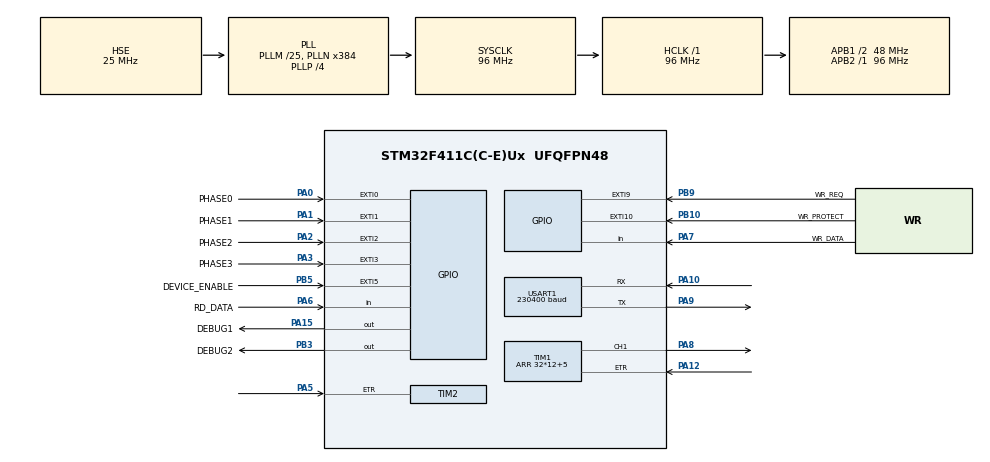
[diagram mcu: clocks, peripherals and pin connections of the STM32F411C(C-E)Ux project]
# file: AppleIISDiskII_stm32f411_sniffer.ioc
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Mcu.Family=STM32F4
Mcu.Name=STM32F411C(C-E)Ux
Mcu.Package=UFQFPN48
NVIC.EXTI0_IRQn=true\:2\:0\:true\:false\:true\:true\:true\:true
NVIC.EXTI15_10_IRQn=true\:0\:0\:true\:false\:true\:true\:true\:true
NVIC.EXTI1_IRQn=true\:2\:0\:true\:false\:true\:true\:true\:true
NVIC.EXTI2_IRQn=true\:2\:0\:true\:false\:true\:true\:true\:true
NVIC.EXTI3_IRQn=true\:2\:0\:true\:false\:true\:true\:true\:true
NVIC.EXTI9_5_IRQn=true\:0\:0\:false\:false\:true\:true\:true\:true
NVIC.PriorityGroup=NVIC_PRIORITYGROUP_4
NVIC.RCC_IRQn=true\:0\:0\:false\:false\:true\:true\:false\:true
NVIC.TIM1_CC_IRQn=true\:0\:0\:false\:false\:false\:true\:true\:true
NVIC.TIM1_UP_TIM10_IRQn=true\:0\:0\:false\:false\:false\:true\:true\:true
NVIC.TIM2_IRQn=true\:0\:0\:false\:false\:false\:true\:true\:true
PA0-WKUP.GPIO_Label=PHASE0
PA0-WKUP.GPIO_ModeDefaultEXTI=GPIO_MODE_IT_RISING_FALLING
PA0-WKUP.GPIO_PuPd=GPIO_NOPULL
PA0-WKUP.Signal=GPXTI0
PA1.GPIO_Label=PHASE1
PA1.GPIO_ModeDefaultEXTI=GPIO_MODE_IT_RISING_FALLING
PA1.GPIO_PuPd=GPIO_NOPULL
PA1.Signal=GPXTI1
PA10.Mode=Asynchronous
PA10.Signal=USART1_RX
PA12.Signal=S_TIM1_ETR
PA13.Mode=Serial_Wire
PA13.Signal=SYS_JTMS-SWDIO
PA14.Mode=Serial_Wire
PA14.Signal=SYS_JTCK-SWCLK
PA15.GPIO_Label=DEBUG1
PA15.Signal=GPIO_Output
PA2.GPIO_Label=PHASE2
PA2.GPIO_ModeDefaultEXTI=GPIO_MODE_IT_RISING_FALLING
PA2.GPIO_PuPd=GPIO_NOPULL
PA2.Signal=GPXTI2
PA3.GPIO_Label=PHASE3
PA3.GPIO_ModeDefaultEXTI=GPIO_MODE_IT_RISING_FALLING
PA3.GPIO_PuPd=GPIO_NOPULL
PA3.Signal=GPXTI3
PA5.Signal=S_TIM2_CH1_ETR
PA6.GPIO_Label=RD_DATA
PA6.Signal=GPIO_Input
PA7.GPIO_Label=WR_DATA
PA7.Signal=GPIO_Input
PA8.Signal=S_TIM1_CH1
PA9.Mode=Asynchronous
PA9.Signal=USART1_TX
PB10.GPIO_Label=WR_PROTECT
PB10.GPIO_ModeDefaultEXTI=GPIO_MODE_IT_RISING_FALLING
PB10.GPIO_PuPd=GPIO_NOPULL
PB10.Signal=GPXTI10
PB3.GPIO_Label=DEBUG2
PB3.PinState=GPIO_PIN_RESET
PB3.Signal=GPIO_Output
PB5.GPIO_Label=DEVICE_ENABLE
PB5.GPIO_ModeDefaultEXTI=GPIO_MODE_IT_RISING_FALLING
PB5.GPIO_PuPd=GPIO_NOPULL
PB5.Signal=GPXTI5
PB9.GPIO_Label=WR_REQ
PB9.GPIO_ModeDefaultEXTI=GPIO_MODE_IT_RISING_FALLING
PB9.GPIO_PuPd=GPIO_NOPULL
PB9.Signal=GPXTI9
PH0\ -\ OSC_IN.Mode=HSE-External-Oscillator
PH0\ -\ OSC_IN.Signal=RCC_OSC_IN
PH1\ -\ OSC_OUT.Mode=HSE-External-Oscillator
PH1\ -\ OSC_OUT.Signal=RCC_OSC_OUT
ProjectManager.HeapSize=0x200
ProjectManager.StackSize=0x400
ProjectManager.TargetToolchain=Makefile
RCC.48MHZClocksFreq_Value=96000000
RCC.AHBFreq_Value=96000000
RCC.APB1CLKDivider=RCC_HCLK_DIV2
RCC.APB1Freq_Value=48000000
RCC.APB1TimFreq_Value=96000000
RCC.APB2Freq_Value=96000000
RCC.APB2TimFreq_Value=96000000
RCC.CortexFreq_Value=96000000
RCC.HCLKFreq_Value=96000000
RCC.HSE_VALUE=25000000
RCC.HSI_VALUE=16000000
RCC.LSE_VALUE=32768
RCC.PLLM=25
RCC.PLLN=384
RCC.PLLP=RCC_PLLP_DIV4
RCC.PLLSourceVirtual=RCC_PLLSOURCE_HSE
RCC.SYSCLKFreq_VALUE=96000000
RCC.SYSCLKSource=RCC_SYSCLKSOURCE_PLLCLK
RCC.VCOOutputFreq_Value=384000000
SH.S_TIM1_CH1.0=TIM1_CH1,Output Compare1 CH1
SH.S_TIM1_ETR.0=TIM1_ETR,TriggerSource_ETR
SH.S_TIM2_CH1_ETR.0=TIM2_ETR,TriggerSource_ETR
TIM1.Channel-Output\ Compare1\ CH1=TIM_CHANNEL_1
TIM1.Period=32*12+5
TIM1.Pulse-Output\ Compare1\ CH1=32*12-15
TIM2.Channel-Output\ Compare2\ No\ Output=TIM_CHANNEL_2
TIM2.Period=32*12-1-2
TIM2.Pulse-Output\ Compare2\ No\ Output=32*6
USART1.BaudRate=230400
USART1.VirtualMode=VM_ASYNC
VP_TIM1_VS_ControllerModeReset.Mode=Reset Mode
VP_TIM2_VS_ControllerModeReset.Mode=Reset Mode
VP_TIM2_VS_no_output2.Mode=Output Compare2 No Output
board=custom

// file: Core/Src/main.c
/* USER CODE BEGIN Header */
/**
  ******************************************************************************
  * @file           : main.c
  * @brief          : Main program body
  ******************************************************************************
  * @attention
  *
  * Copyright (c) 2025 STMicroelectronics.
  * All rights reserved.
  *
  * This software is licensed under terms that can be found in the LICENSE file
  * in the root directory of this software component.
  * If no LICENSE file comes with this software, it is provided AS-IS.
  *
  ******************************************************************************
  */
/* USER CODE END Header */
#include "main.h"

/* USER CODE BEGIN Includes */
#include <stdbool.h>
#include <stdio.h>
#include <string.h>
#include <stdlib.h>
#include "log.h"
#include "defines.h"
/* USER CODE END Includes */

TIM_HandleTypeDef htim1;
TIM_HandleTypeDef htim2;

UART_HandleTypeDef huart1;

/* USER CODE BEGIN PV */
volatile unsigned int *DWT_CYCCNT   = (volatile unsigned int *)0xE0001004;
volatile unsigned int *DWT_CONTROL  = (volatile unsigned int *)0xE0001000;
volatile unsigned int *DWT_LAR      = (volatile unsigned int *)0xE0001FB0;
volatile unsigned int *SCB_DHCSR    = (volatile unsigned int *)0xE000EDF0;
volatile unsigned int *SCB_DEMCR    = (volatile unsigned int *)0xE000EDFC;
volatile unsigned int *ITM_TER      = (volatile unsigned int *)0xE0000E00;
volatile unsigned int *ITM_TCR      = (volatile unsigned int *)0xE0000E80;
static int Debug_ITMDebug = 0;
/* USER CODE END PV */

void SystemClock_Config(void);
static void MX_GPIO_Init(void);
static void MX_USART1_UART_Init(void);
static void MX_TIM1_Init(void);
static void MX_TIM2_Init(void);
/* USER CODE BEGIN PFP */
/*
static void SmartPortPhaseIRQ();
static void SmartPortDeviceEnableIRQ();
static void SmartPortWpAckIRQ();
static void SmartPortWrReqIRQ();
*/

static void SmartPortReceiveWRDataIRQ();
static void SmartPortReceiveRDDataIRQ();
static uint8_t verifyCmdpktChecksum(char * packet_buffer);

static void print_packet (unsigned char Emit,unsigned char* data, int bytes);
int packet_length (unsigned char * packet_buffer);

static volatile uint8_t rdData=0;
static volatile uint8_t prevRdData=0;
static volatile uint8_t xorRdData=0;
static volatile int rdStartOffset=0;

static volatile uint8_t wrData=0;
static volatile uint8_t prevWrData=0;
static volatile uint8_t xorWrData=0;
static volatile int wrStartOffset=0;

static volatile unsigned int rdBitCounter=0;
static volatile unsigned int rdBytes=0;
static volatile unsigned int rdBytesReceived=0;

static volatile unsigned int wrBitCounter=0;
static volatile unsigned int wrBytes=0;
static volatile unsigned int wrBytesReceived=0;

static volatile unsigned char rdByteWindow=0x0;
static volatile unsigned char wrByteWindow=0x0;

static volatile uint16_t wrCycleWithNoBytes=0;
static volatile uint8_t flgPacket=2;

static volatile unsigned int WR_REQ_PHASE=0;

static volatile unsigned char phase=0x0;

unsigned char packet_bufferWR[SP_PKT_SIZE];   //smartport packet buffer
unsigned char packet_bufferRD[SP_PKT_SIZE];   //smartport packet buffer

/* USER CODE END PFP */

/* USER CODE BEGIN 0 */

void EnableTiming(void){
  if ((*SCB_DHCSR & 1) && (*ITM_TER & 1)) // Enabled?
    Debug_ITMDebug = 1;

  *SCB_DEMCR |= 0x01000000;
  *DWT_LAR = 0xC5ACCE55;                                    // enable access
  *DWT_CYCCNT = 0;                                          // reset the counter
  *DWT_CONTROL |= 1 ;                                       // enable the counter
}

static void WritePin(GPIO_TypeDef* GPIOx, uint16_t GPIO_Pin, GPIO_PinState PinState){

  if(PinState != GPIO_PIN_RESET)
  {
    GPIOx->BSRR = GPIO_Pin;
  }
  else
  {
    GPIOx->BSRR = (uint32_t)GPIO_Pin << 16U;
  }
}
/**
  * @brief TIMER 1 IRQ Interrupt is handling the Reading from DEVICE to HOST
  * @param None
  * @retval None
  */

void TIM1_CC_IRQHandler(void){

  //  Data bit are sent every 4us
  //  For pulse a duration of 2us

  if (TIM1->SR & TIM_SR_UIF){
    TIM1->SR &= ~TIM_SR_UIF;                              // Clear the overflow interrupt

  }else if (TIM1->SR & TIM_SR_CC1IF){                     // Pulse compare interrrupt on Channel 1
    TIM1->SR &= ~TIM_SR_CC1IF;                            // Clear the compare interrupt flag
    SmartPortReceiveRDDataIRQ();
  }else
    TIM1->SR = 0;
}

/**
  * @brief
  * @param None
  * @retval None
  */
 void TIM1_UP_TIM10_IRQHandler(void){
 // HAL_GPIO_WritePin(DEBUG1_GPIO_Port,DEBUG1_Pin,GPIO_PIN_SET);
 // SmartPortReceiveRDDataIRQ();
 // HAL_GPIO_WritePin(DEBUG1_GPIO_Port,DEBUG1_Pin,GPIO_PIN_RESET);
 if (TIM1->SR & TIM_SR_UIF){
  TIM1->SR &= ~TIM_SR_UIF;
  return;

  //printf("%d",rdData);
//rdData=RD_DATA_GPIO_Port->IDR & RD_DATA_Pin;
return;
 }else{
  //SmartPortReceiveRDDataIRQ();
  TIM1->SR = 0;
 }
}

/**
  * @brief TIMER 2 IRQ Interrupt is handling the Writing from HOST to DEVICE
  * @param (void)
  * @retval None
  */
void TIM2_IRQHandler(void){

  if (TIM2->SR & TIM_SR_UIF){
    TIM2->SR &= ~TIM_SR_UIF;                                                  // Reset the Interrupt
  }else if (TIM2->SR & TIM_SR_CC2IF){                                         // The count & compare is on channel 2 to avoid issue with ETR1
    TIM2->SR &= ~TIM_SR_CC2IF;                                                // clear the count & compare interrupt
    SmartPortReceiveWRDataIRQ();
  }else{
    TIM2->SR=0;
  }
}

void SmartPortPhaseIRQ(){

  phase=(GPIOA->IDR&0b0000000000001111);
  return;
}

volatile uint8_t DEVICE_ENABLE=0x0;

void SmartPortDeviceEnableIRQ(){
  if ((DEVICE_ENABLE_GPIO_Port->IDR & DEVICE_ENABLE_Pin)==0)
    DEVICE_ENABLE=0;
  else
    DEVICE_ENABLE=1;
}

uint8_t WP_ACK=0;
uint8_t pWP_ACK=0;

volatile uint8_t pWR_REQ_PHASE=0x1;

void SmartPortWrReqIRQ(){

  if ((WR_REQ_GPIO_Port->IDR & WR_REQ_Pin)==0)
       WR_REQ_PHASE=0;
  else
       WR_REQ_PHASE=1;

  pWR_REQ_PHASE=WR_REQ_PHASE;
}

void SmartPortWpAckIRQ(){

  if ((WR_PROTECT_GPIO_Port->IDR & WR_PROTECT_Pin)==0)
    WP_ACK=0;
  else
    WP_ACK=1;
  return;
}

static void SmartPortReceiveRDDataIRQ(){
  // ADD WR_REQ IRQ TO MANAGE START & STOP OF THE TIMER
  //WritePin(DEBUG1_GPIO_Port,DEBUG1_Pin,GPIO_PIN_SET);
  //  WritePin(DEBUG1_GPIO_Port,DEBUG1_Pin,GPIO_PIN_SET);
  if ((RD_DATA_GPIO_Port->IDR & RD_DATA_Pin)==0)                                       // get WR_DATA DO NOT USE THE HAL function creating an overhead
    rdData=0;
  else
    rdData=1;
  //  WritePin(DEBUG1_GPIO_Port,DEBUG1_Pin,GPIO_PIN_RESET);

    rdByteWindow<<=1;
    rdByteWindow|=rdData;

  if (rdByteWindow & 0x80){                                                 // Check if ByteWindow Bit 7 is 1 meaning we have a full bytes 0b1xxxxxxx 0x80

    packet_bufferRD[rdBytes]=rdByteWindow;

    if (rdStartOffset==0 && rdByteWindow==0xC3 && rdBitCounter>10)          // Identify when the message start
      rdStartOffset=0x01;

    //printf("%02X",rdByteWindow);
    rdByteWindow=0x0;

    if (rdStartOffset!=0)                                                     // Start writing to packet_buffer only if offset is not 0 (after sync byte)
      rdBytes++;

    //if (rdBytes==600)
    //  rdBytes=0;

  }
  rdBitCounter++;                                      // Next bit please ;)
}

static void SmartPortReceiveWRDataIRQ(){
  // ADD WR_REQ IRQ TO MANAGE START & STOP OF THE TIMER
  //WritePin(DEBUG1_GPIO_Port,DEBUG1_Pin,GPIO_PIN_SET);
  if ((WR_DATA_GPIO_Port->IDR & WR_DATA_Pin)==0)                                       // get WR_DATA DO NOT USE THE HAL function creating an overhead
      wrData=0;
  else
      wrData=1;
  //WritePin(DEBUG1_GPIO_Port,DEBUG1_Pin,GPIO_PIN_RESET);
 //printf("za\n");
  //wrData=WR_DATA_GPIO_Port->IDR & WR_DATA_Pin;

  wrData^= 0x01u;                                                           // get /WR_DATA
  xorWrData=wrData ^ prevWrData;                                            // Compute Magnetic polarity inversion
  prevWrData=wrData;

  wrByteWindow<<=1;
  wrByteWindow|=xorWrData;

  if (wrByteWindow & 0x80){                                                 // Check if ByteWindow Bit 7 is 1 meaning we have a full bytes 0b1xxxxxxx 0x80

      packet_bufferWR[wrBytes]=wrByteWindow;

      if (wrStartOffset==0 && wrByteWindow==0xC3 && wrBitCounter>10)        // Identify when the message start
          wrStartOffset=0x01;

      wrByteWindow=0x0;

      if (wrStartOffset!=0)                                               // Start writing to packet_buffer only if offset is not 0 (after sync byte)
          wrBytes++;
  }

  wrBitCounter++;                                                           // Next bit please ;)
}

static int decodeDataPacket (char * packet_buffer, int pl){

  int grpbyte, grpcount;
  unsigned char numgrps, numodd;
  unsigned char checksum = 0, bit0to6, bit7, oddbits, evenbits;
  unsigned char group_buffer[8];

  log_info("Data Packet Len:%d",pl);

  numodd = packet_buffer[6] & 0x7f;                                                               // Handle arbitrary length packets :)
  numgrps = packet_buffer[7] & 0x7f;

  for (uint8_t count = 1;  count < 8;  count++)                                                   // First, checksum  packet header, because we're about to destroy it
      checksum = checksum ^ packet_buffer[count];                                                 // now xor the packet header bytes

  log_info("PL-3:%02X PL-2:%02X",packet_buffer[pl-3],packet_buffer[pl-2]);
  evenbits = packet_buffer[pl-3] & 0x55;
  oddbits = (packet_buffer[pl-2] & 0x55 ) << 1;

  log_info("evBits %02X, oddBit:%02X",evenbits,oddbits);
  for(int i = 0; i < numodd; i++){                                                                 //add oddbyte(s), 1 in a 512 data packet
      packet_buffer[i] = ((packet_buffer[8] << (i+1)) & 0x80) | (packet_buffer[9+i] & 0x7f);
  }

  for (grpcount = 0; grpcount < numgrps; grpcount++){                                             // 73 grps of 7 in a 512 byte packet
      memcpy(group_buffer, packet_buffer + 10 + (grpcount * 8), 8);
      for (grpbyte = 0; grpbyte < 7; grpbyte++) {
          bit7 = (group_buffer[0] << (grpbyte + 1)) & 0x80;
          bit0to6 = (group_buffer[grpbyte + 1]) & 0x7f;
          packet_buffer[1 + (grpcount * 7) + grpbyte] = bit7 | bit0to6;
      }
  }

  for (uint8_t count = 0;  count < (numgrps*7+1); count++)                                                   // Verify checksum
     checksum = checksum ^ packet_buffer[count];

  log_info("decode Data checksum %02X<>%02X",checksum,(oddbits | evenbits));
  print_packet (0,(unsigned char*) packet_buffer,pl);

  if (checksum == (oddbits | evenbits))
      return 0;                                                                                   // NO error
  else
      return 6;                                                                                   // Smartport bus error code

}
static uint8_t verifyCmdpktChecksum2(char * packet_buffer,int length){
  int count = 0;
  unsigned char evenbits, oddbits, bit7, bit0to6, grpbyte;
  unsigned char calc_checksum = 0; //initial value is 0
  unsigned char pkt_checksum;

/*
C3              PBEGIN    MARKS BEGINNING OF PACKET             32 micro Sec.       6   0
81              DEST      DESTINATION UNIT NUMBER               32 micro Sec.       7   1
80              SRC       SOURCE UNIT NUMBER                    32 micro Sec.       8   2
80              TYPE      PACKET TYPE FIELD                     32 micro Sec.       9   3
80              AUX       PACKET AUXILLIARY TYPE FIELD          32 micro Sec.      10   4
80              STAT      DATA STATUS FIELD                     32 micro Sec.      11   5
82              ODDCNT    ODD BYTES COUNT                       32 micro Sec.      12   6
81              GRP7CNT   GROUP OF 7 BYTES COUNT                32 micro Sec.      13   7
80              ODDMSB    ODD BYTES MSB's                       32 micro Sec.      14   8
81              COMMAND   1ST ODD BYTE = Command Byte           32 micro Sec.      15   9
83              PARMCNT   2ND ODD BYTE = Parameter Count        32 micro Sec.      16  10
80              GRP7MSB   MSB's FOR 1ST GROUP OF 7              32 micro Sec.      17  11
80              G7BYTE1   BYTE 1 FOR 1ST GROUP OF 7             32 micro Sec.      18  12

0000: C3 81 80 80 80 80 82 81 80 81 83 82 80 88 80 80 - ..80808080..80...80.8080
0010: 80 FF 80 FF BB C8

*/

  unsigned char oddcnt=packet_buffer[SP_ODDCNT]  & 0x7f;
  unsigned char grpcnt=packet_buffer[SP_GRP7CNT] & 0x7f;

  for(u_int8_t i = 0; i < oddcnt; i++){                                                                 //add oddbyte(s), 1 in a 512 data packet
      calc_checksum ^= ((packet_buffer[SP_ODDMSB] << (i+1)) & 0x80) | (packet_buffer[SP_COMMAND+i] & 0x7f);
  }

  unsigned char group_buffer[8];

  for (unsigned char grp = 0; grp < grpcnt; grp++){                                             // 73 grps of 7 in a 512 byte packet

    memcpy(group_buffer, packet_buffer + SP_COMMAND+ oddcnt + (grp * 8), 8);

    for (grpbyte = 0; grpbyte < 7; grpbyte++) {
        bit7 = (group_buffer[0] << (grpbyte + 1)) & 0x80;
        bit0to6 = (group_buffer[grpbyte + 1]) & 0x7f;
        //packet_buffer[1 + (grpcount * 7) + grpbyte] = bit7 | bit0to6;
        calc_checksum ^= bit7 | bit0to6;
    }
  }

  // calculate checksum for overhead bytes
  for (count = 1; count < SP_ODDMSB; count++) // start from first id byte
    calc_checksum ^= packet_buffer[count];

  oddbits = (packet_buffer[length - 2] & 0x55 )<< 1 ;
  evenbits = packet_buffer[length - 3] & 0x55;

  pkt_checksum = oddbits | evenbits;

  if ( pkt_checksum == calc_checksum )
      return 1;
  else{
      //print_packet ((unsigned char*) packet_buffer,packet_length());
      log_info("packet_buffer[length - 2]:%02X",packet_buffer[length - 2]);
      log_info("packet_buffer[length - 3]:%02X",packet_buffer[length - 3]);
      log_warn("pkt_chksum:%02X!=calc_chksum:%02X",pkt_checksum,calc_checksum);
      return 0;
  }

}

static uint8_t verifyCmdpktChecksum(char * packet_buffer){
  int count = 0, length;
  unsigned char evenbits, oddbits, bit7, bit0to6, grpbyte;
  unsigned char calc_checksum = 0; //initial value is 0
  unsigned char pkt_checksum;

  length = packet_length(packet_buffer);
/*
C3              PBEGIN    MARKS BEGINNING OF PACKET             32 micro Sec.       6   0
81              DEST      DESTINATION UNIT NUMBER               32 micro Sec.       7   1
80              SRC       SOURCE UNIT NUMBER                    32 micro Sec.       8   2
80              TYPE      PACKET TYPE FIELD                     32 micro Sec.       9   3
80              AUX       PACKET AUXILLIARY TYPE FIELD          32 micro Sec.      10   4
80              STAT      DATA STATUS FIELD                     32 micro Sec.      11   5
82              ODDCNT    ODD BYTES COUNT                       32 micro Sec.      12   6
81              GRP7CNT   GROUP OF 7 BYTES COUNT                32 micro Sec.      13   7
80              ODDMSB    ODD BYTES MSB's                       32 micro Sec.      14   8
81              COMMAND   1ST ODD BYTE = Command Byte           32 micro Sec.      15   9
83              PARMCNT   2ND ODD BYTE = Parameter Count        32 micro Sec.      16  10
80              GRP7MSB   MSB's FOR 1ST GROUP OF 7              32 micro Sec.      17  11
80              G7BYTE1   BYTE 1 FOR 1ST GROUP OF 7             32 micro Sec.      18  12

0000: C3 81 80 80 80 80 82 81 80 81 83 82 80 88 80 80 - ..80808080..80...80.8080
0010: 80 FF 80 FF BB C8

*/

  //unsigned char oddcnt=packet_buffer[SP_ODDCNT] & 0x80;
  //unsigned char grpcnt=packet_buffer[SP_GRP7CNT] & 0x80;

  //2 oddbytes in cmd packet
  calc_checksum ^= ((packet_buffer[SP_ODDMSB] << 1) & 0x80) | (packet_buffer[SP_COMMAND] & 0x7f);
  calc_checksum ^= ((packet_buffer[SP_ODDMSB] << 2) & 0x80) | (packet_buffer[SP_PARMCNT] & 0x7f);

  // 1 group of 7 in a cmd packet

  for (grpbyte = 0; grpbyte < 7; grpbyte++) {
      bit7 = (packet_buffer[SP_GRP7MSB] << (grpbyte + 1)) & 0x80;
      bit0to6 = (packet_buffer[SP_G7BYTE1 + grpbyte]) & 0x7f;
      calc_checksum ^= bit7 | bit0to6;
  }

  // calculate checksum for overhead bytes
  for (count = 1; count < 8; count++) // start from first id byte
      calc_checksum ^= packet_buffer[count];

  oddbits = (packet_buffer[length - 2] & 0x55 )<< 1 ;
  evenbits = packet_buffer[length - 3] & 0x55;

  pkt_checksum = oddbits | evenbits;

  // calculate checksum for overhead bytes

  if ( pkt_checksum == calc_checksum )
      return 1;
  else{
      //print_packet ((unsigned char*) packet_buffer,packet_length());
      log_info("packet_buffer[length - 2]:%02X",packet_buffer[length - 2]);
      log_info("packet_buffer[length - 3]:%02X",packet_buffer[length - 3]);
      log_warn("pkt_chksum:%02X!=calc_chksum:%02X",pkt_checksum,calc_checksum);
      return 0;
  }

}

//*****************************************************************************
// Function: print_packet
// Parameters: pointer to data, number of bytes to be printed
// Returns: none
//
// Description: prints packet data for debug purposes to the serial port
//*****************************************************************************

static void print_packet (unsigned char Emit,unsigned char* data, int bytes){
  int count, row;
  char xx;
  if (Emit==1)
    log_info("HOST Packet size:%03d, src:%02X, dst:%02X, type:%02X, aux:%02x, cmd:%02X, paramcnt:%02X",bytes,data[SP_SRC],data[SP_DEST],data[SP_TYPE],data[SP_AUX],data[SP_COMMAND],data[SP_PARMCNT]);
  else
    log_info("DEVICE Packet size:%03d, src:%02X, dst:%02X, type:%02X, aux:%02x, cmd:%02X, paramcnt:%02X",bytes,data[SP_SRC],data[SP_DEST],data[SP_TYPE],data[SP_AUX],data[SP_COMMAND],data[SP_PARMCNT]);

  for (count = 0; count < bytes; count = count + 16) {

      printf("%04X: ", count);
      for (row = 0; row < 16; row++) {
          if (count + row >= bytes)
              printf("   ");
          else {
              printf("%02X ",data[count + row]);
          }
      }
      printf("- ");
      for (row = 0; row < 16; row++) {
          if ((data[count + row] > 31) && (count + row < bytes) && (data[count + row] < 129)){
              xx = data[count + row];
              printf("%c",xx);
          }
          else
              printf(".");
      }
      printf("\r\n");
  }
  printf(".\r\n");
}

int packet_length (unsigned char * packet_buffer){
  int x = 0;

  while (packet_buffer[x++]);

  return x - 1; // point to last packet byte = C8
}
/* USER CODE END 0 */

int main(void)
{

  /* MCU Configuration--------------------------------------------------------*/

  /* Reset of all peripherals, Initializes the Flash interface and the Systick. */
  HAL_Init();

  /* Configure the system clock */
  SystemClock_Config();

  /* Initialize all configured peripherals */
  MX_GPIO_Init();
  MX_USART1_UART_Init();
  MX_TIM1_Init();
  MX_TIM2_Init();
  /* USER CODE BEGIN 2 */

  log_info("This is the sound of sea\n\r");
  int T2_DIER=0x0;
  T2_DIER|=TIM_DIER_CC2IE;
  T2_DIER|=TIM_DIER_UIE;
  TIM2->DIER|=T2_DIER;

  int T1_DIER=0x0;
  T1_DIER|=TIM_DIER_CC1IE;
  T1_DIER|=TIM_DIER_UIE;
  TIM1->DIER|=T1_DIER;

  int packetIdx=0x0;
  while (1){
    switch (phase) {
      // phase lines for smartport bus reset
      // ph3=0 ph2=1 ph1=0 ph0=1
      case 0x05:

      // Monitor phase lines for reset to clear
          while (phase == 0x05);                                                      // Wait for phases to change
          log_info("Ph:0x05 Reset message");
          break;
      // Phase lines for smartport bus enable
      // Ph3=1 ph2=x ph1=1 ph0=x
      case 0x0a:
      case 0x0b:
      case 0x0e:
      case 0x0f:
            wrStartOffset=0;
            wrBitCounter=0;
            wrBytes=0;
            wrByteWindow=0;
            while (WR_REQ_PHASE==1);
            HAL_TIM_OC_Start_IT(&htim2,TIM_CHANNEL_2);
            WritePin(DEBUG1_GPIO_Port,DEBUG1_Pin,GPIO_PIN_SET);

            while (WR_REQ_PHASE==0);

            HAL_TIM_OC_Stop_IT(&htim2,TIM_CHANNEL_2);
            while (WP_ACK==1);

            WritePin(DEBUG1_GPIO_Port,DEBUG1_Pin,GPIO_PIN_RESET);
            packet_bufferWR[wrBytes]=0x0;
            //WritePin(DEBUG2_GPIO_Port,DEBUG2_Pin,GPIO_PIN_SET);
            //print_packet(1,packet_bufferWR,wrBytes);
            //verifyCmdpktChecksum2(packet_bufferWR,wrBytes);

            if (rdBytes!=0){
              if (rdBytes>24)
                rdBytes=24;
              //print_packet(2,packet_bufferRD,rdBytes);
            }
            //verifyCmdpktChecksum2(packet_bufferRD,rdBytes);
            //WritePin(DEBUG2_GPIO_Port,DEBUG2_Pin,GPIO_PIN_RESET);

            rdStartOffset=0;
            rdBitCounter=0;
            rdBytes=0;
            rdByteWindow=0;
            printf("idx:%04d\n",packetIdx);

            while (WP_ACK==0);

            //

            HAL_TIM_OC_Start_IT(&htim1,TIM_CHANNEL_1);
            WritePin(DEBUG1_GPIO_Port,DEBUG1_Pin,GPIO_PIN_SET);

            while(1){
              if (WR_REQ_PHASE==0){
                // We have an new imcomming data from Host;
                WritePin(DEBUG2_GPIO_Port,DEBUG2_Pin,GPIO_PIN_SET);
                HAL_TIM_OC_Stop_IT(&htim1,TIM_CHANNEL_1);
                wrStartOffset=0;
                wrBitCounter=0;
                wrBytes=0;
                wrByteWindow=0;
                HAL_TIM_OC_Start_IT(&htim2,TIM_CHANNEL_2);
                while (WR_REQ_PHASE==0);
                HAL_TIM_OC_Stop_IT(&htim2,TIM_CHANNEL_2);

                while (WP_ACK==1);
                WritePin(DEBUG2_GPIO_Port,DEBUG2_Pin,GPIO_PIN_RESET);
                packet_bufferWR[wrBytes]=0x0;
                while (WP_ACK==0);                                      // After That the reading answer from the Device
                rdStartOffset=0;
                rdBitCounter=0;
                rdBytes=0;
                rdByteWindow=0;
                HAL_TIM_OC_Start_IT(&htim1,TIM_CHANNEL_1);
                WritePin(DEBUG2_GPIO_Port,DEBUG2_Pin,GPIO_PIN_SET);
                while (WP_ACK==1);
                HAL_TIM_OC_Stop_IT(&htim1,TIM_CHANNEL_1);
                packet_bufferRD[rdBytes]=0x0;
                WritePin(DEBUG2_GPIO_Port,DEBUG2_Pin,GPIO_PIN_RESET);       // we have our second request
                break;

              }else if (WP_ACK==0){                                         // Normal case of Device Sending after 1 request
                  HAL_TIM_OC_Stop_IT(&htim1,TIM_CHANNEL_1);
                  WritePin(DEBUG1_GPIO_Port,DEBUG1_Pin,GPIO_PIN_RESET);
                  packet_bufferRD[rdBytes]=0x0;
                  break;

              }
            }

            //while (WP_ACK==1);
            //HAL_TIM_OC_Stop_IT(&htim1,TIM_CHANNEL_1);
            //WritePin(DEBUG1_GPIO_Port,DEBUG1_Pin,GPIO_PIN_RESET);

            //while(WP_ACK==0);
            //packet_bufferRD[rdBytes]=0x0;
            packetIdx++;

      break;
    }
  }
  /* USER CODE END 2 */

  /* Infinite loop */
  while (1)
  {

  }
}

void SystemClock_Config(void)
{
  RCC_OscInitTypeDef RCC_OscInitStruct = {0};
  RCC_ClkInitTypeDef RCC_ClkInitStruct = {0};

  /** Configure the main internal regulator output voltage
  */
  __HAL_RCC_PWR_CLK_ENABLE();
  __HAL_PWR_VOLTAGESCALING_CONFIG(PWR_REGULATOR_VOLTAGE_SCALE1);

  /** Initializes the RCC Oscillators according to the specified parameters
  * in the RCC_OscInitTypeDef structure.
  */
  RCC_OscInitStruct.OscillatorType = RCC_OSCILLATORTYPE_HSE;
  RCC_OscInitStruct.HSEState = RCC_HSE_ON;
  RCC_OscInitStruct.PLL.PLLState = RCC_PLL_ON;
  RCC_OscInitStruct.PLL.PLLSource = RCC_PLLSOURCE_HSE;
  RCC_OscInitStruct.PLL.PLLM = 25;
  RCC_OscInitStruct.PLL.PLLN = 384;
  RCC_OscInitStruct.PLL.PLLP = RCC_PLLP_DIV4;
  RCC_OscInitStruct.PLL.PLLQ = 4;
  if (HAL_RCC_OscConfig(&RCC_OscInitStruct) != HAL_OK)
  {
    Error_Handler();
  }

  /** Initializes the CPU, AHB and APB buses clocks
  */
  RCC_ClkInitStruct.ClockType = RCC_CLOCKTYPE_HCLK|RCC_CLOCKTYPE_SYSCLK
                              |RCC_CLOCKTYPE_PCLK1|RCC_CLOCKTYPE_PCLK2;
  RCC_ClkInitStruct.SYSCLKSource = RCC_SYSCLKSOURCE_PLLCLK;
  RCC_ClkInitStruct.AHBCLKDivider = RCC_SYSCLK_DIV1;
  RCC_ClkInitStruct.APB1CLKDivider = RCC_HCLK_DIV2;
  RCC_ClkInitStruct.APB2CLKDivider = RCC_HCLK_DIV1;

  if (HAL_RCC_ClockConfig(&RCC_ClkInitStruct, FLASH_LATENCY_3) != HAL_OK)
  {
    Error_Handler();
  }
}

static void MX_TIM1_Init(void)
{

  TIM_SlaveConfigTypeDef sSlaveConfig = {0};
  TIM_MasterConfigTypeDef sMasterConfig = {0};
  TIM_OC_InitTypeDef sConfigOC = {0};
  TIM_BreakDeadTimeConfigTypeDef sBreakDeadTimeConfig = {0};

  htim1.Instance = TIM1;
  htim1.Init.Prescaler = 0;
  htim1.Init.CounterMode = TIM_COUNTERMODE_UP;
  htim1.Init.Period = 32*12+5;
  htim1.Init.ClockDivision = TIM_CLOCKDIVISION_DIV1;
  htim1.Init.RepetitionCounter = 0;
  htim1.Init.AutoReloadPreload = TIM_AUTORELOAD_PRELOAD_DISABLE;
  if (HAL_TIM_Base_Init(&htim1) != HAL_OK)
  {
    Error_Handler();
  }
  if (HAL_TIM_OC_Init(&htim1) != HAL_OK)
  {
    Error_Handler();
  }
  sSlaveConfig.SlaveMode = TIM_SLAVEMODE_RESET;
  sSlaveConfig.InputTrigger = TIM_TS_ETRF;
  sSlaveConfig.TriggerPolarity = TIM_TRIGGERPOLARITY_NONINVERTED;
  sSlaveConfig.TriggerPrescaler = TIM_TRIGGERPRESCALER_DIV1;
  sSlaveConfig.TriggerFilter = 0;
  if (HAL_TIM_SlaveConfigSynchro(&htim1, &sSlaveConfig) != HAL_OK)
  {
    Error_Handler();
  }
  sMasterConfig.MasterOutputTrigger = TIM_TRGO_RESET;
  sMasterConfig.MasterSlaveMode = TIM_MASTERSLAVEMODE_DISABLE;
  if (HAL_TIMEx_MasterConfigSynchronization(&htim1, &sMasterConfig) != HAL_OK)
  {
    Error_Handler();
  }
  sConfigOC.OCMode = TIM_OCMODE_TIMING;
  sConfigOC.Pulse = 32*12-15;
  sConfigOC.OCPolarity = TIM_OCPOLARITY_HIGH;
  sConfigOC.OCNPolarity = TIM_OCNPOLARITY_HIGH;
  sConfigOC.OCFastMode = TIM_OCFAST_DISABLE;
  sConfigOC.OCIdleState = TIM_OCIDLESTATE_RESET;
  sConfigOC.OCNIdleState = TIM_OCNIDLESTATE_RESET;
  if (HAL_TIM_OC_ConfigChannel(&htim1, &sConfigOC, TIM_CHANNEL_1) != HAL_OK)
  {
    Error_Handler();
  }
  sBreakDeadTimeConfig.OffStateRunMode = TIM_OSSR_DISABLE;
  sBreakDeadTimeConfig.OffStateIDLEMode = TIM_OSSI_DISABLE;
  sBreakDeadTimeConfig.LockLevel = TIM_LOCKLEVEL_OFF;
  sBreakDeadTimeConfig.DeadTime = 0;
  sBreakDeadTimeConfig.BreakState = TIM_BREAK_DISABLE;
  sBreakDeadTimeConfig.BreakPolarity = TIM_BREAKPOLARITY_HIGH;
  sBreakDeadTimeConfig.AutomaticOutput = TIM_AUTOMATICOUTPUT_DISABLE;
  if (HAL_TIMEx_ConfigBreakDeadTime(&htim1, &sBreakDeadTimeConfig) != HAL_OK)
  {
    Error_Handler();
  }
  HAL_TIM_MspPostInit(&htim1);

}

static void MX_TIM2_Init(void)
{

  TIM_SlaveConfigTypeDef sSlaveConfig = {0};
  TIM_MasterConfigTypeDef sMasterConfig = {0};
  TIM_OC_InitTypeDef sConfigOC = {0};

  htim2.Instance = TIM2;
  htim2.Init.Prescaler = 0;
  htim2.Init.CounterMode = TIM_COUNTERMODE_UP;
  htim2.Init.Period = 32*12-1-2;
  htim2.Init.ClockDivision = TIM_CLOCKDIVISION_DIV1;
  htim2.Init.AutoReloadPreload = TIM_AUTORELOAD_PRELOAD_DISABLE;
  if (HAL_TIM_Base_Init(&htim2) != HAL_OK)
  {
    Error_Handler();
  }
  if (HAL_TIM_OC_Init(&htim2) != HAL_OK)
  {
    Error_Handler();
  }
  sSlaveConfig.SlaveMode = TIM_SLAVEMODE_RESET;
  sSlaveConfig.InputTrigger = TIM_TS_ETRF;
  sSlaveConfig.TriggerPolarity = TIM_TRIGGERPOLARITY_NONINVERTED;
  sSlaveConfig.TriggerPrescaler = TIM_TRIGGERPRESCALER_DIV1;
  sSlaveConfig.TriggerFilter = 0;
  if (HAL_TIM_SlaveConfigSynchro(&htim2, &sSlaveConfig) != HAL_OK)
  {
    Error_Handler();
  }
  sMasterConfig.MasterOutputTrigger = TIM_TRGO_RESET;
  sMasterConfig.MasterSlaveMode = TIM_MASTERSLAVEMODE_DISABLE;
  if (HAL_TIMEx_MasterConfigSynchronization(&htim2, &sMasterConfig) != HAL_OK)
  {
    Error_Handler();
  }
  sConfigOC.OCMode = TIM_OCMODE_TIMING;
  sConfigOC.Pulse = 32*6;
  sConfigOC.OCPolarity = TIM_OCPOLARITY_HIGH;
  sConfigOC.OCFastMode = TIM_OCFAST_DISABLE;
  if (HAL_TIM_OC_ConfigChannel(&htim2, &sConfigOC, TIM_CHANNEL_2) != HAL_OK)
  {
    Error_Handler();
  }

}

static void MX_USART1_UART_Init(void)
{

  huart1.Instance = USART1;
  huart1.Init.BaudRate = 1152000;// 921600; //460800;
  huart1.Init.WordLength = UART_WORDLENGTH_8B;
  huart1.Init.StopBits = UART_STOPBITS_1;
  huart1.Init.Parity = UART_PARITY_NONE;
  huart1.Init.Mode = UART_MODE_TX_RX;
  huart1.Init.HwFlowCtl = UART_HWCONTROL_NONE;
  huart1.Init.OverSampling = UART_OVERSAMPLING_16;
  if (HAL_UART_Init(&huart1) != HAL_OK)
  {
    Error_Handler();
  }

}

static void MX_GPIO_Init(void)
{
  GPIO_InitTypeDef GPIO_InitStruct = {0};

  /* GPIO Ports Clock Enable */
  __HAL_RCC_GPIOH_CLK_ENABLE();
  __HAL_RCC_GPIOA_CLK_ENABLE();
  __HAL_RCC_GPIOB_CLK_ENABLE();

  /*Configure GPIO pin Output Level */
  HAL_GPIO_WritePin(DEBUG1_GPIO_Port, DEBUG1_Pin, GPIO_PIN_RESET);

  /*Configure GPIO pin Output Level */
  HAL_GPIO_WritePin(DEBUG2_GPIO_Port, DEBUG2_Pin, GPIO_PIN_RESET);

  /*Configure GPIO pins : PHASE0_Pin PHASE1_Pin PHASE2_Pin PHASE3_Pin */
  GPIO_InitStruct.Pin = PHASE0_Pin|PHASE1_Pin|PHASE2_Pin|PHASE3_Pin;
  GPIO_InitStruct.Mode = GPIO_MODE_IT_RISING_FALLING;
  GPIO_InitStruct.Pull = GPIO_NOPULL;
  HAL_GPIO_Init(GPIOA, &GPIO_InitStruct);

  /*Configure GPIO pins : RD_DATA_Pin WR_DATA_Pin */
  GPIO_InitStruct.Pin = RD_DATA_Pin|WR_DATA_Pin;
  GPIO_InitStruct.Mode = GPIO_MODE_INPUT;
  GPIO_InitStruct.Pull = GPIO_NOPULL;
  HAL_GPIO_Init(GPIOA, &GPIO_InitStruct);

  /*Configure GPIO pins : WR_PROTECT_Pin DEVICE_ENABLE_Pin WR_REQ_Pin */
  GPIO_InitStruct.Pin = WR_PROTECT_Pin|DEVICE_ENABLE_Pin|WR_REQ_Pin;
  GPIO_InitStruct.Mode = GPIO_MODE_IT_RISING_FALLING;
  GPIO_InitStruct.Pull = GPIO_NOPULL;
  HAL_GPIO_Init(GPIOB, &GPIO_InitStruct);

  /*Configure GPIO pin : DEBUG1_Pin */
  GPIO_InitStruct.Pin = DEBUG1_Pin;
  GPIO_InitStruct.Mode = GPIO_MODE_OUTPUT_PP;
  GPIO_InitStruct.Pull = GPIO_NOPULL;
  GPIO_InitStruct.Speed = GPIO_SPEED_FREQ_LOW;
  HAL_GPIO_Init(DEBUG1_GPIO_Port, &GPIO_InitStruct);

  /*Configure GPIO pin : DEBUG2_Pin */
  GPIO_InitStruct.Pin = DEBUG2_Pin;
  GPIO_InitStruct.Mode = GPIO_MODE_OUTPUT_PP;
  GPIO_InitStruct.Pull = GPIO_NOPULL;
  GPIO_InitStruct.Speed = GPIO_SPEED_FREQ_LOW;
  HAL_GPIO_Init(DEBUG2_GPIO_Port, &GPIO_InitStruct);

  /* EXTI interrupt init*/
  HAL_NVIC_SetPriority(EXTI0_IRQn, 2, 0);
  HAL_NVIC_EnableIRQ(EXTI0_IRQn);

  HAL_NVIC_SetPriority(EXTI1_IRQn, 2, 0);
  HAL_NVIC_EnableIRQ(EXTI1_IRQn);

  HAL_NVIC_SetPriority(EXTI2_IRQn, 2, 0);
  HAL_NVIC_EnableIRQ(EXTI2_IRQn);

  HAL_NVIC_SetPriority(EXTI3_IRQn, 2, 0);
  HAL_NVIC_EnableIRQ(EXTI3_IRQn);

  HAL_NVIC_SetPriority(EXTI9_5_IRQn, 0, 0);
  HAL_NVIC_EnableIRQ(EXTI9_5_IRQn);

  HAL_NVIC_SetPriority(EXTI15_10_IRQn, 0, 0);
  HAL_NVIC_EnableIRQ(EXTI15_10_IRQn);

}

/* USER CODE BEGIN 4 */

void HAL_GPIO_EXTI_Callback(uint16_t GPIO_Pin){
  //printf("FUCKH %d\n");
  switch (GPIO_Pin){

    case DEVICE_ENABLE_Pin:
    SmartPortDeviceEnableIRQ();
    break;

    case WR_REQ_Pin:
    SmartPortWrReqIRQ();
    break;
    case WR_PROTECT_Pin:
    SmartPortWpAckIRQ();
    break;
    case PHASE0_Pin:
    case PHASE1_Pin:
    case PHASE2_Pin:
    case PHASE3_Pin:
    SmartPortPhaseIRQ();
    break;
    default:break;

  }

}

/**
  * @brief  Retargets the C library printf function to the USART.
  * @param  None
  * @retval None
  */
PUTCHAR_PROTOTYPE{
  /* Place your implementation of fputc here */
  /* e.g. write a character to the USART1 and Loop until the end of transmission */

  HAL_UART_Transmit(&huart1, (uint8_t *)&ch, 1, 0xFFFF);

 // int __io_putchar(int ch)
//{
 // Write character to ITM ch.0
 //ITM_SendChar(ch);
 //return(ch);
//}
  return ch;
}
/* USER CODE END 4 */

void Error_Handler(void)
{
  /* USER CODE BEGIN Error_Handler_Debug */
  /* User can add his own implementation to report the HAL error return state */
  __disable_irq();
  log_error("Oups I lost my mind, and then I crashed with no inspiration\n");
  while (1)
  {
  }
  /* USER CODE END Error_Handler_Debug */
}
